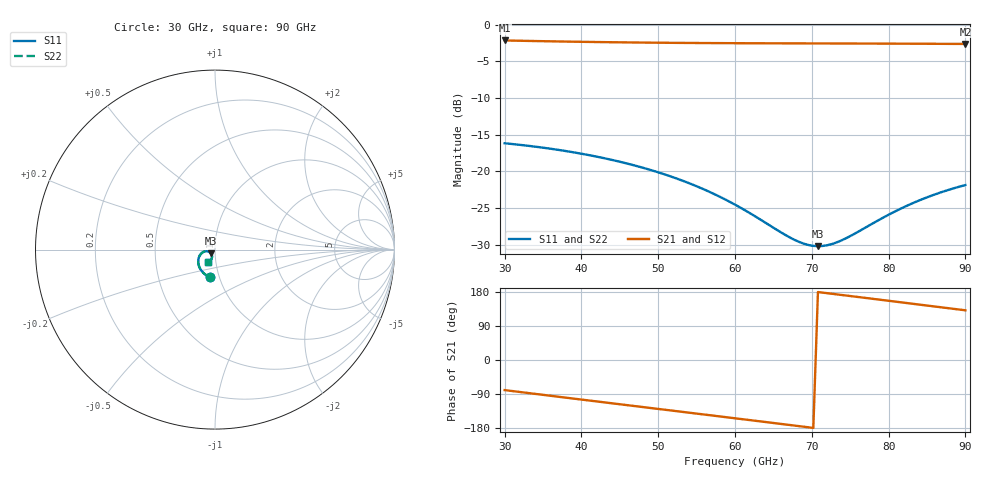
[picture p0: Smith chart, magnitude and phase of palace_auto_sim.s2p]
#  GHZ S DB R 50
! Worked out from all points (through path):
!   101 points, 30 GHz to 90 GHz, reference 50 ohm
!   highest |S21| = -2.14 dB at 30 GHz (marker M1); lowest = -2.6 dB at 90 GHz (marker M2)
!   group delay of S21, straight-line fit = 6.9 ps
!   lowest |S11| = -30.2 dB at 70.8 GHz (marker M3), VSWR 1.06, Z = 47.6 - j1.9 ohm
!   |S11| at or under -10 dB: start of sweep to end of sweep
!   |S22| runs from -30.2 to -16.2 dB; largest |S21 - S12| = 8.8e-14
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30  -16.16 -101.1  -2.14 -79.4  -2.14 -79.4  -16.16 -101.1
32.4  -16.43 -108.5  -2.19 -85.4  -2.19 -85.4  -16.43 -108.5
34.8  -16.74 -115.7  -2.24 -91.5  -2.24 -91.5  -16.74 -115.7
37.2  -17.10 -122.6  -2.28 -97.4  -2.28 -97.4  -17.10 -122.6
40.2  -17.62 -130.9  -2.33 -104.9  -2.33 -104.9  -17.63 -130.9
45  -18.68 -143.3  -2.40 -116.8  -2.40 -116.8  -18.69 -143.4
50.4  -20.26 -155.7  -2.45 -130.1  -2.45 -130.1  -20.26 -155.7
55.2  -22.11 -164.5  -2.49 -141.9  -2.49 -141.9  -22.12 -164.5
57.6  -23.24 -167.6  -2.50 -147.9  -2.50 -147.9  -23.25 -167.7
60  -24.53 -169.5  -2.51 -153.8  -2.51 -153.8  -24.54 -169.5
63.6  -26.76 -168.2  -2.53 -162.7  -2.53 -162.7  -26.77 -168.3
67.2  -29.04 -159.0  -2.54 -171.7  -2.54 -171.7  -29.06 -159.0
69  -29.87 -150.4  -2.54 -176.2  -2.54 -176.2  -29.89 -150.4
70.2  -30.15 -143.6  -2.55 -179.2  -2.55 -179.2  -30.17 -143.5
70.8  -30.19 -140.0  -2.55 179.3  -2.55 179.3  -30.21 -139.9
72  -30.07 -132.9  -2.55 176.3  -2.55 176.3  -30.08 -132.8
73.8  -29.44 -123.7  -2.56 171.8  -2.56 171.8  -29.45 -123.6
76.8  -27.77 -114.1  -2.56 164.3  -2.56 164.3  -27.77 -114.0
80.4  -25.69 -110.6  -2.58 155.3  -2.58 155.3  -25.68 -110.5
82.8  -24.49 -111.2  -2.58 149.2  -2.58 149.2  -24.48 -111.1
85.2  -23.46 -113.3  -2.59 143.2  -2.59 143.2  -23.44 -113.2
90  -21.86 -120.0  -2.62 131.2  -2.62 131.2  -21.84 -119.8
